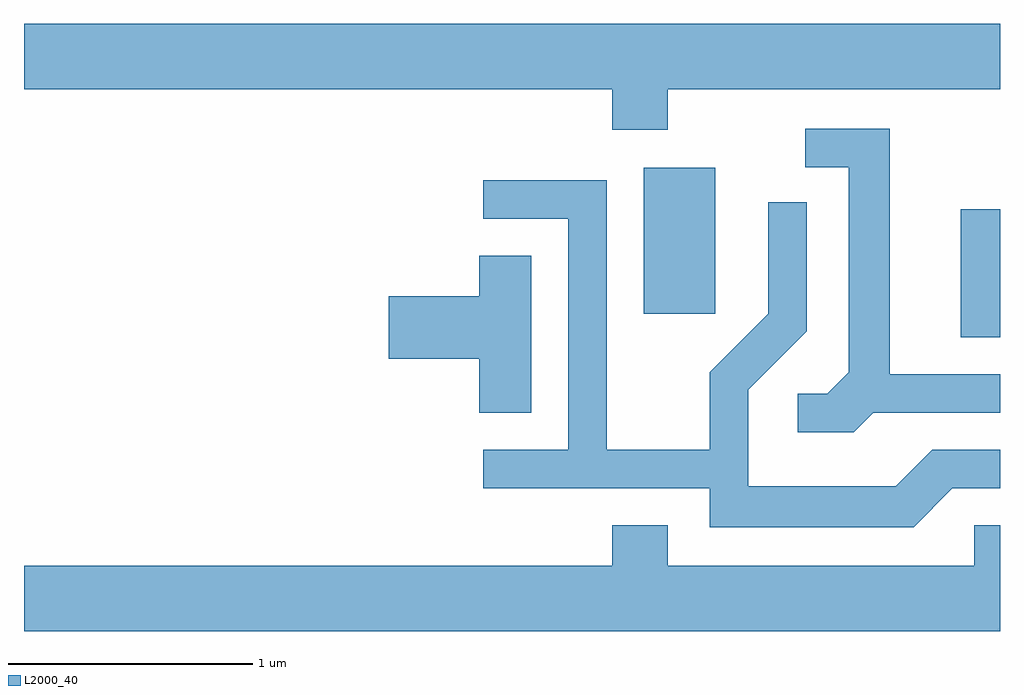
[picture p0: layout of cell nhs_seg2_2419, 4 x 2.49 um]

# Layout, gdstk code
import gdstk
lib = gdstk.Library(unit=1e-6, precision=1e-09)
def R(c, l, rs):  # rectangles x0, y0, x1, y1
    for r in rs: c.add(gdstk.rectangle(r[:2], r[2:], *l))
def P(c, l, *ps):  # polygons
    for p in ps: c.add(gdstk.Polygon(p, *l))
L2000_40 = (2000, 40)

nhs_seg2_2419 = lib.new_cell('nhs_seg2_2419')
R(nhs_seg2_2419, L2000_40, [(259.451,1058.401,259.611,1058.924), (258.151,1058.496,258.444,1059.094)])
P(nhs_seg2_2419, L2000_40, [(258.249,1059.416),(259.611,1059.416),(259.611,1059.684),(255.611,1059.684),(255.611,1059.416),(258.021,1059.416),(258.021,1059.251),(258.249,1059.251)],
  [(259.092,1058.091),(259.611,1058.091),(259.611,1058.249),(259.159,1058.249),(259.159,1059.254),(258.813,1059.254),(258.813,1059.096),(258.991,1059.096),(258.991,1058.257),(258.904,1058.169),(258.783,1058.169),(258.783,1058.011),(259.012,1058.011)],
  [(259.416,1057.781),(259.611,1057.781),(259.611,1057.939),(259.334,1057.939),(259.183,1057.789),(258.579,1057.789),(258.579,1058.184),(258.819,1058.424),(258.819,1058.953),(258.661,1058.953),(258.661,1058.497),(258.421,1058.257),(258.421,1057.939),(257.999,1057.939),(257.999,1059.044),(257.493,1059.044),(257.493,1058.886),(257.841,1058.886),(257.841,1057.939),(257.493,1057.939),(257.493,1057.781),(258.421,1057.781),(258.421,1057.621),(259.257,1057.621)],
  [(257.689,1058.734),(257.476,1058.734),(257.476,1058.569),(257.106,1058.569),(257.106,1058.311),(257.476,1058.311),(257.476,1058.091),(257.689,1058.091)],
  [(259.611,1057.629),(259.506,1057.629),(259.506,1057.464),(258.249,1057.464),(258.249,1057.629),(258.021,1057.629),(258.021,1057.464),(255.611,1057.464),(255.611,1057.196),(259.611,1057.196)])

lib.write_gds('nhs_seg2_2419.gds')
